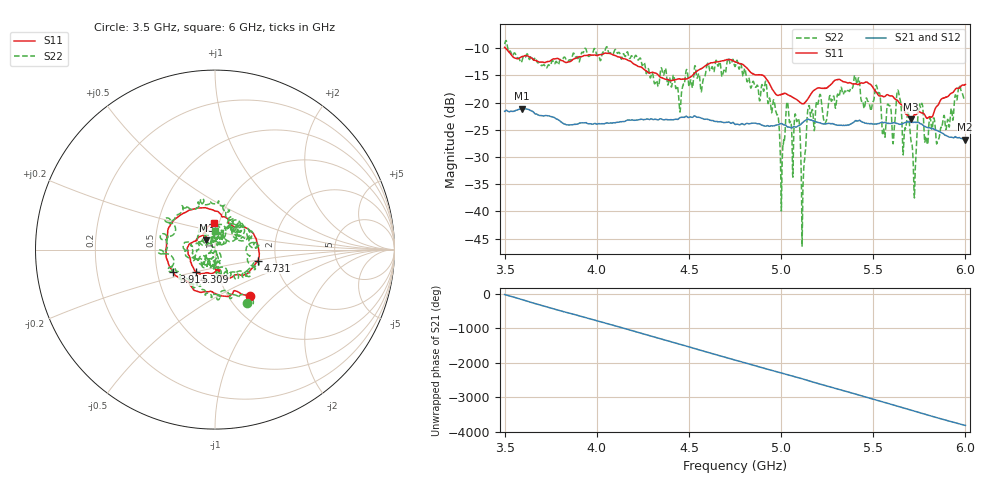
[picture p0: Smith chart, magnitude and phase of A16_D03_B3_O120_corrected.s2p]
! Created with skrf 1.9.0 (http://scikit-rf.org).
# Hz S RI R 50.0
!freq ReS11 ImS11 ReS21 ImS21 ReS12 ImS12 ReS22 ImS22
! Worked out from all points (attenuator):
!   1601 points, 3.5 GHz to 6 GHz, reference 50 ohm
!   highest |S21| = -21.13 dB at 3.592 GHz (marker M1); lowest = -26.8 dB at 5.998 GHz (marker M2)
!   lowest |S11| = -23.1 dB at 5.703 GHz (marker M3), VSWR 1.15, Z = 45.2 + j4.69 ohm
!   |S11| at or under -10 dB: 3.505 GHz to end of sweep
!   |S22| runs from -46.4 to -8.6 dB; largest |S21 - S12| = 0.00095
!   S11 on the Smith chart (normalised r, x): 3.5 GHz: 1.25, -0.72; 3.914 GHz: 0.61, -0.16; 4.731 GHz: 1.61, -0.21; 5.309 GHz: 0.79, -0.20; 6 GHz: 0.95, +0.28
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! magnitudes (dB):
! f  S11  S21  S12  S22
! 3.5 GHz  -9.8  -21.6  -21.6  -9.2
! 3.592 GHz  -11.6  -21.1  -21.1  -12.5
! 3.914 GHz  -11.6  -23.7  -23.7  -11.2
! 3.917 GHz  -11.6  -23.7  -23.7  -10.9
! 4.334 GHz  -15.0  -23.2  -23.1  -17.0
! 4.731 GHz  -12.2  -23.8  -23.7  -12.7
! 4.75 GHz  -12.5  -24.0  -23.9  -13.4
! 4.967 GHz  -18.3  -24.2  -24.2  -20.7
! 5.005 GHz  -18.4  -23.9  -23.9  -32.7
! 5.034 GHz  -18.5  -24.5  -24.4  -19.8
! 5.088 GHz  -19.5  -24.4  -24.4  -23.3
! 5.119 GHz  -20.2  -23.6  -23.5  -35.4
! 5.145 GHz  -19.3  -23.1  -23.0  -21.2
! 5.167 GHz  -18.1  -23.2  -23.2  -21.4
! 5.309 GHz  -15.8  -24.2  -24.1  -18.6
! 5.584 GHz  -18.7  -23.8  -23.8  -20.4
! 5.703 GHz  -23.1  -23.6  -23.6  -26.5
! 5.722 GHz  -22.3  -23.6  -23.6  -36.9
! 5.756 GHz  -21.8  -23.9  -23.8  -20.9
! 5.852 GHz  -20.5  -25.2  -25.2  -26.9
! 5.998 GHz  -16.7  -26.8  -26.7  -19.5
! 6 GHz  -16.6  -26.8  -26.7  -19.5
